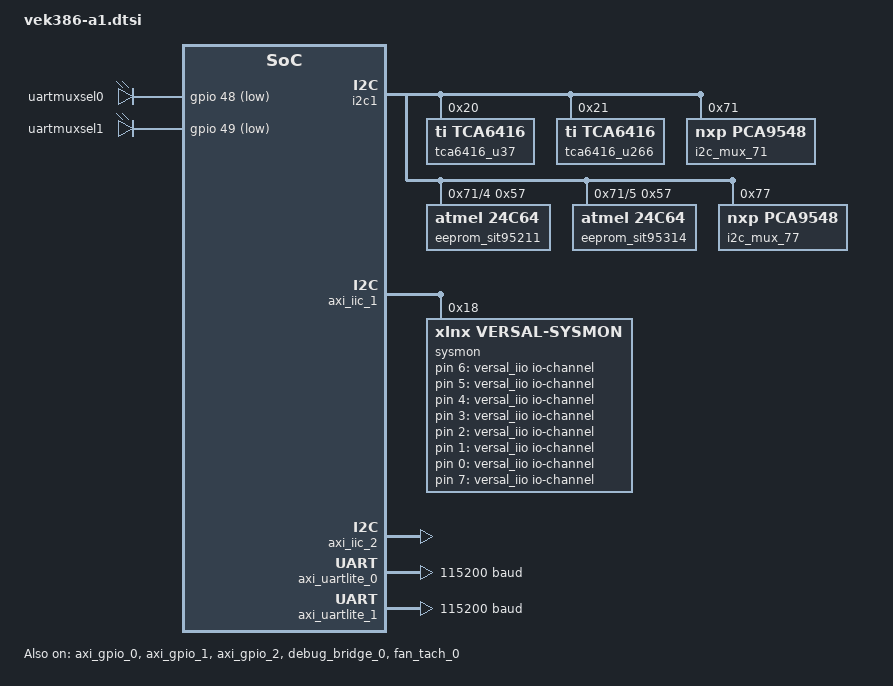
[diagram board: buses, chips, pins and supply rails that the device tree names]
// SPDX-License-Identifier: GPL-2.0
/*
 * dts file for SC on VEK386 revA (k24)
 *
 * (C) Copyright 2026, Advanced Micro Devices, Inc.
 *
 * Michal Simek <michal.simek@amd.com>
 */

/dts-v1/;
/plugin/;

&{/} {
	compatible = "xlnx,zynqmp-sc-vek386-revA",
		     "xlnx,zynqmp-sc-vek386", "xlnx,zynqmp";
	model = "ZynqMP SC VEK386 revA";

	leds-um {
		compatible = "gpio-leds";
		um0-led {
			label = "uartmuxsel0";
			gpios = <&gpio 48 1>;
			default-state = "off";
		};

		um1-led {
			label = "uartmuxsel1";
			gpios = <&gpio 49 1>;
			default-state = "off";
		};
	};

	versal_iio: versal {
		compatible = "iio-hwmon";
		io-channels = <&sysmon 6>, <&sysmon 5>, <&sysmon 4>,
			<&sysmon 3>, <&sysmon 2>, <&sysmon 1>,
			<&sysmon 0>, <&sysmon 7>, <&sysmon 8>;
	};
};

&i2c0 { /* FMC/J13  - MIO66/67 - board_i2c0 */
	#address-cells = <1>;
	#size-cells = <0>;
};

&i2c1 { /* MIO24/25 - sysctrl_i2c1 */
	#address-cells = <1>;
	#size-cells = <0>;
	status = "okay";

	/* slg7xl46528: gpio@10/11 u169 - reset logic */

	i2c-arbitrator@72 { /* u161 */

		i2c-arb { /* board_i2c1 */

			tca6416_u37: gpio@20 { /* u37 */
				compatible = "ti,tca6416";
				reg = <0x20>;
				gpio-controller; /* interrupt on MIO69 */
				#gpio-cells = <2>;
				gpio-line-names = "VMON1_SLP", "VMON2_SLP", "VMON3_SLP", "VMONS_ACT_SHDN", /* 0 - 3 */
						"PCIE_RP_i2C_ALERT_B", "PCIE_RP_CLKREQ_B", "PCIE_RP_PEWAKE_B", "PCIE_RP_PERST_CON_B", /* 4 - 7 */
						"FMCP1_FMC_PRSNT_M2C_B", "FMCP1_FMCP_PRSNT_M2C_B", "PMBUS4_INA_ALERT", "PMBUS3_INA_ALERT", /* 10 - 13 */
						"PMBUS2_INA_ALERT", "PMBUS1_INA_ALERT", "PMBUS1_NIRQ", "PMBUS1_ALERT"; /* 14 - 17 */
			};

			tca6416_u266: gpio@21 { /* u266 */
				compatible = "ti,tca6416";
				reg = <0x21>;
				gpio-controller; /* interrupt on MIO69 */
				#gpio-cells = <2>;
				gpio-line-names = "QSFP1_MODSELL", "QSFP1_RESETL", "QSFP1_MODPRSL", "QSFP1_INTL", /* 0 - 3 */
						"QSFP1_LPMODE", "", "", "", /* 4 - 7 */
						"SFP_TX_FAULT", "SFP_RX_LOS", "SFP_MOD_ABS", "SFP_TX_DISABLE", /* 10 - 13 */
						"SFP_RS0_R", "SFP_RS1_R", "", ""; /* 14 - 17 */
			};

			i2c_mux_71: i2c-mux@71 { /* u162 */
				compatible = "nxp,pca9548";
				#address-cells = <1>;
				#size-cells = <0>;
				reg = <0x71>;
				i2c-mux-idle-disconnect;
				pmbus1: i2c@0 {
					#address-cells = <1>;
					#size-cells = <0>;
					reg = <0>;
					/* pmbus1 */
					/* J1 connector */
					/* u247 mpq79500 0x5 */
					/* u248 mpq79500 0x6 */
					/* u249 mpq79500 0x7 */
					/* u256 mpq79730 0x8 */
					/* u254 mpq79730 0x9 */
					/* u255 mpq79730 0xa */
					/* u243 mpq79720 0xb */
					/* u245 mpq79720 0xc */
					/* u201 mpq2283 0x15 */
					/* u193 mpq2283 0x1a */
					/* u207 mpq2283 0x1c */
					/* u176 mpq2285 0x1d */
					/* u228 mpq72963 0x22 */
					/* u219 mpq72963 0x23 */
					/* u220 mpq72963 0x24 */
				};
				pmbus2: i2c@1 {
					#address-cells = <1>;
					#size-cells = <0>;
					reg = <1>;
					/* pmbus2 */
					/* J166 connector */
					/* u205 mpq2285 0x1 */
					/* u175 mpq2285 0x2 */
					/* u189 mpq2283 0x3 */
					/* u190 mpq2283 0x4 */
					/* u195 mpq2283 0x1e */
					/* u196 mpq2283 0x1f */
					/* u93 mpq2283 0x13 */
					/* u203 mpq2283 0x17 */
					/* u204 mpq2283 0x18 */
					/* u191 mpq2283 0x19 */
					/* u206 mpq2283 0x1b */
				};
				pmbus1_ina: i2c@2 {
					#address-cells = <1>;
					#size-cells = <0>;
					reg = <2>;
					/* u282 ina745a 0x40 vcc_fpd_bus */
					/* u233 ina745a 0x41 vcc_soc_io_bus */
					/* u283 ina700a 0x44 vcc_lpd */
					/* u284 ina700a 0x45 vccaux_lpd */
					/* u285 ina700a 0x46 vcco_50x */
					/* u286 ina700a 0x47 vcco_mipi_507 */
					/* u64 ina745a 0x48 vccint_bus1 */
					/* u275 ina745a 0x49 vccint_bus2 */
					/* u276 ina745a 0x4a vccint_bus3 */
					/* u277 ina745a 0x4b vccint_bus4 */
				};
				pmbus2_ina: i2c@3 {
					#address-cells = <1>;
					#size-cells = <0>;
					reg = <3>;
					/* u287 ina700a 0x44 vcciio_mipi_507 */
					/* u297 ina700a 0x45 util_5v0_in_bank504 */
					/* u288 ina700a 0x46 vccaux */
					/* u289 ina700a 0x47 vadj_fmc */
					/* u278 ina745a 0x48 vcc_aie_bus1 */
					/* u279 ina745a 0x49 vcc_aie_bus2 */
					/* u280 ina745a 0x4a vcc_aie_bus3 */
					/* u281 ina745a 0x4b vcc_aie_bus4 */
				};
				clkgen_sit95211: i2c@4 {
					#address-cells = <1>;
					#size-cells = <0>;
					reg = <4>;
					/* u101 sit95211 0x69 - 12 outputs */
					eeprom_u166: eeprom@57 { /* u166 - required by spec - also at address 0x5F */
						compatible = "atmel,24c64";
						label = "eeprom_sit95211";
						reg = <0x57>;
					};
				};
				clkgen_sit95314: i2c@5 {
					#address-cells = <1>;
					#size-cells = <0>;
					reg = <5>;
					/* u164 sit95314 0x69 - 4 outputs */
					eeprom_u165: eeprom@57 { /* u165 - required by spec - also at address 0x5F */
						compatible = "atmel,24c64";
						label = "eeprom_sit95314";
						reg = <0x57>;
					};
				};
				pmbus3_ina: i2c@6 {
					#address-cells = <1>;
					#size-cells = <0>;
					reg = <6>;
					/* u290 ina700a 0x44 vcco_40x */
					/* u291 ina700a 0x45 gtyp_avccaux */
					/* u292 ina700a 0x46 gtyp_avtt */
					/* u294 ina700a 0x47 vcco_7xx_lp5 */
				};
				pmbus4_ina: i2c@7 {
					#address-cells = <1>;
					#size-cells = <0>;
					reg = <7>;
					/* u293 ina700a 0x44 vcc_mmd */
					/* u295 ina700a 0x45 vcc_ram */
					/* u296 ina700a 0x46 gtyp_avcc */
				};
			};

			i2c_mux_77: i2c-mux@77 { /* u253 */
				compatible = "nxp,pca9548";
				#address-cells = <1>;
				#size-cells = <0>;
				reg = <0x77>;
				i2c-mux-idle-disconnect;
				sfp: i2c@1 {
					#address-cells = <1>;
					#size-cells = <0>;
					reg = <1>;
				};
				usbdp: i2c@2 {
					#address-cells = <1>;
					#size-cells = <0>;
					reg = <2>;
					/* u272 tps66993 */
				};
				pcie_rp: i2c@3 {
					#address-cells = <1>;
					#size-cells = <0>;
					reg = <3>;
				};
				usb0_hub: i2c@4 {
					#address-cells = <1>;
					#size-cells = <0>;
					reg = <4>;
					hub: usb-hub@74 { /* u111 - DNP */
						compatible = "microchip,usb5744";
						status = "disabled";
						reg = <0x74>;
					};

				};
				/* 0, 5 - 7 not connected */
			};
		};
	};
};

&eeprom_cc { /* u35 - m24128 16kB */
	compatible = "st,24c128", "atmel,24c128";
};

&fpga_full {
	firmware-name = "vek386-a1.bin";
	clocking0: clocking0 {
		compatible = "xlnx,fclk";
		status = "okay";
		assigned-clocks = <&zynqmp_clk 71>;
		assigned-clock-rates = <99999999>;
		#clock-cells = <0>;
		clock-output-names = "fabric_clk";
		clocks = <&zynqmp_clk 71>;
	};
	afi0: afi0 {
		status = "okay";
		compatible = "xlnx,afi-fpga";
		resets = <&zynqmp_reset 116>, <&zynqmp_reset 117>, <&zynqmp_reset 118>, <&zynqmp_reset 119>;
		config-afi = < 0 0>, <1 0>, <2 0>, <3 0>, <4 0>, <5 0>, <6 0>, <7 0>, <8 0>, <9 0>, <10 0>, <11 0>, <12 0>, <13 0>, <14 0xa00>, <15 0x000>;
	};
};

&amba {
	ranges;
	compatible = "simple-bus";
	#address-cells = <2>;
	#size-cells = <2>;
	axi_gpio_0: gpio@80020000 {
		#interrupt-cells = <2>;
		interrupts = < 0 94 4 >;
		xlnx,gpio-board-interface = "Custom";
		compatible = "xlnx,axi-gpio-2.0" , "xlnx,xps-gpio-1.00.a";
		xlnx,all-outputs = <0>;
		#gpio-cells = <2>;
		xlnx,gpio-width = <12>;
		interrupt-parent = <&gic>;
		xlnx,dout-default = <0x0>;
		xlnx,is-dual = <0>;
		xlnx,ip-name = "axi_gpio";
		xlnx,tri-default-2 = <0xffffffff>;
		reg = <0x0 0x80020000 0x0 0x10000>;
		xlnx,all-inputs-2 = <0>;
		clocks = <&zynqmp_clk 71>;
		xlnx,all-outputs-2 = <0>;
		gpio-controller;
		xlnx,interrupt-present = <1>;
		xlnx,gpio2-board-interface = "Custom";
		xlnx,edk-iptype = "PERIPHERAL";
		xlnx,dout-default-2 = <0x0>;
		status = "okay";
		xlnx,gpio2-width = <32>;
		clock-names = "s_axi_aclk";
		interrupt-controller;
		interrupt-names = "ip2intc_irpt";
		xlnx,tri-default = <0xffffffff>;
		xlnx,name = "axi_gpio_0";
		xlnx,all-inputs = <0>;
	};
	axi_gpio_1: gpio@80030000 {
		#interrupt-cells = <2>;
		interrupts = < 0 96 4 >;
		xlnx,gpio-board-interface = "Custom";
		compatible = "xlnx,axi-gpio-2.0" , "xlnx,xps-gpio-1.00.a";
		xlnx,all-outputs = <0>;
		#gpio-cells = <2>;
		xlnx,gpio-width = <26>;
		interrupt-parent = <&gic>;
		xlnx,dout-default = <0x0>;
		xlnx,is-dual = <0>;
		xlnx,ip-name = "axi_gpio";
		xlnx,tri-default-2 = <0xffffffff>;
		reg = <0x0 0x80030000 0x0 0x10000>;
		xlnx,all-inputs-2 = <0>;
		clocks = <&zynqmp_clk 71>;
		xlnx,all-outputs-2 = <0>;
		gpio-controller;
		xlnx,interrupt-present = <1>;
		xlnx,gpio2-board-interface = "Custom";
		xlnx,edk-iptype = "PERIPHERAL";
		xlnx,dout-default-2 = <0x0>;
		status = "okay";
		xlnx,gpio2-width = <32>;
		clock-names = "s_axi_aclk";
		interrupt-controller;
		interrupt-names = "ip2intc_irpt";
		xlnx,tri-default = <0xffffffff>;
		xlnx,name = "axi_gpio_1";
		xlnx,all-inputs = <0>;
		gpio-line-names =
			/*  0 -  3 */ "", "", "SYSCTRL_GPI6", "SYSCTRL_GPI7",
			/*  4 -  7 */ "", "", "", "",
			/*  8 - 11 */ "SYSCTRL_GPI4", "SYSCTRL_GPI5", "CC_EEPROM_WP", "SYSCTRL_GPO0",
			/* 12 - 15 */ "SYSCTRL_GPO1", "", "", "",
			/* 16 - 19 */ "SYSCTRL_GPO2", "SYSCTRL_GPO3", "", "",
			/* 20 - 23 */ "", "", "", "",
			/* 24 - 25 */ "", "";
	};
	axi_gpio_2: gpio@80040000 {
		#interrupt-cells = <2>;
		interrupts = < 0 95 4 >;
		xlnx,gpio-board-interface = "Custom";
		compatible = "xlnx,axi-gpio-2.0" , "xlnx,xps-gpio-1.00.a";
		xlnx,all-outputs = <0>;
		#gpio-cells = <2>;
		xlnx,gpio-width = <24>;
		interrupt-parent = <&gic>;
		xlnx,dout-default = <0x0>;
		xlnx,is-dual = <0>;
		xlnx,ip-name = "axi_gpio";
		xlnx,tri-default-2 = <0xffffffff>;
		reg = <0x0 0x80040000 0x0 0x10000>;
		xlnx,all-inputs-2 = <0>;
		clocks = <&zynqmp_clk 71>;
		xlnx,all-outputs-2 = <0>;
		gpio-controller;
		xlnx,interrupt-present = <1>;
		xlnx,gpio2-board-interface = "Custom";
		xlnx,edk-iptype = "PERIPHERAL";
		xlnx,dout-default-2 = <0x0>;
		status = "okay";
		xlnx,gpio2-width = <32>;
		clock-names = "s_axi_aclk";
		interrupt-controller;
		interrupt-names = "ip2intc_irpt";
		xlnx,tri-default = <0xffffffff>;
		xlnx,name = "axi_gpio_2";
		xlnx,all-inputs = <0>;
	};
	axi_iic_1: i2c@80060000 {
		interrupts = < 0 92 4 >;
		xlnx,iic-freq-khz = <100>;
		compatible = "xlnx,axi-iic-2.1" , "xlnx,xps-iic-2.00.a";
		xlnx,scl-inertial-delay = <0>;
		interrupt-parent = <&gic>;
		xlnx,ip-name = "axi_iic";
		xlnx,disable-setup-violation-check = <0>;
		reg = <0x0 0x80060000 0x0 0x10000>;
		clocks = <&zynqmp_clk 71>;
		xlnx,gpo-width = <1>;
		xlnx,s-axi-aclk-freq-hz = <0x5f5dd19>;
		xlnx,edk-iptype = "PERIPHERAL";
		xlnx,static-timing-reg-width = <0>;
		xlnx,sda-level = <1>;
		status = "okay";
		clock-names = "s_axi_aclk";
		xlnx,ten-bit-adr = <0>;
		xlnx,default-value = <0x0>;
		interrupt-names = "iic2intc_irpt";
		xlnx,iic-board-interface = "Custom";
		xlnx,timing-reg-width = <32>;
		xlnx,iic-freq = <100000>;
		xlnx,smbus-pmbus-host = <0>;
		xlnx,name = "axi_iic_1";
		xlnx,axi-aclk-freq-mhz = <0x5f5dd19>;
		xlnx,sda-inertial-delay = <0>;
		sysmon: i2c@18 {
			#address-cells = <1>;
			#size-cells = <0>;
			compatible = "xlnx,versal-sysmon";
			reg = <0x18>;
			xlnx,numchannels = [07];
			status = "okay";
			#io-channel-cells = <1>;
			supply@0 {
				reg = <0>;
				xlnx,name = "vccaux";
			};
			supply@1 {
				reg = <1>;
				xlnx,name = "vccaux_pmc";
			};
			supply@2 {
				reg = <2>;
				xlnx,name = "vcc_pmc";
			};
			supply@3 {
				reg = <3>;
				xlnx,name = "vcc_psfp";
			};
			supply@4 {
				reg = <4>;
				xlnx,name = "vcc_pslp";
			};
			supply@5 {
				reg = <5>;
				xlnx,name = "vcc_soc";
			};
			supply@6 {
				reg = <6>;
				xlnx,name = "vp_vn";
			};
		};
	};
	axi_iic_2: i2c@80090000 {
		interrupts = < 0 105 4 >;
		xlnx,iic-freq-khz = <100>;
		compatible = "xlnx,axi-iic-2.1" , "xlnx,xps-iic-2.00.a";
		xlnx,scl-inertial-delay = <0>;
		interrupt-parent = <&gic>;
		xlnx,ip-name = "axi_iic";
		xlnx,disable-setup-violation-check = <0>;
		reg = <0x0 0x80090000 0x0 0x10000>;
		clocks = <&zynqmp_clk 71>;
		xlnx,gpo-width = <1>;
		xlnx,s-axi-aclk-freq-hz = <0x5f5dd19>;
		xlnx,edk-iptype = "PERIPHERAL";
		xlnx,static-timing-reg-width = <0>;
		xlnx,sda-level = <1>;
		status = "okay";
		clock-names = "s_axi_aclk";
		xlnx,ten-bit-adr = <0>;
		xlnx,default-value = <0x0>;
		interrupt-names = "iic2intc_irpt";
		xlnx,iic-board-interface = "Custom";
		xlnx,timing-reg-width = <32>;
		xlnx,iic-freq = <100000>;
		xlnx,smbus-pmbus-host = <0>;
		xlnx,name = "axi_iic_2";
		xlnx,axi-aclk-freq-mhz = <0x5f5dd19>;
		xlnx,sda-inertial-delay = <0>;
	};
	axi_uartlite_0: serial@80070000 {
		interrupts = < 0 104 1 >;
		compatible = "xlnx,axi-uartlite-2.0" , "xlnx,xps-uartlite-1.00.a";
		xlnx,uartlite-board-interface = "Custom";
		xlnx,s-axi-aclk-freq-hz-d = <0x5f5dd19>;
		interrupt-parent = <&gic>;
		xlnx,ip-name = "axi_uartlite";
		reg = <0x0 0x80070000 0x0 0x10000>;
		xlnx,baudrate = <115200>;
		clocks = <&zynqmp_clk 71>;
		current-speed = <115200>;
		xlnx,use-parity = <0>;
		xlnx,edk-iptype = "PERIPHERAL";
		xlnx,odd-parity = <0>;
		status = "okay";
		clock-names = "s_axi_aclk";
		interrupt-names = "interrupt";
		xlnx,name = "axi_uartlite_0";
		xlnx,data-bits = <8>;
		xlnx,parity = "No_Parity";
	};
	axi_uartlite_1: serial@80050000 {
		interrupts = < 0 91 1 >;
		compatible = "xlnx,axi-uartlite-2.0" , "xlnx,xps-uartlite-1.00.a";
		xlnx,uartlite-board-interface = "Custom";
		xlnx,s-axi-aclk-freq-hz-d = <0x5f5dd19>;
		interrupt-parent = <&gic>;
		xlnx,ip-name = "axi_uartlite";
		reg = <0x0 0x80050000 0x0 0x10000>;
		xlnx,baudrate = <115200>;
		clocks = <&zynqmp_clk 71>;
		current-speed = <115200>;
		xlnx,use-parity = <0>;
		xlnx,edk-iptype = "PERIPHERAL";
		xlnx,odd-parity = <0>;
		status = "okay";
		clock-names = "s_axi_aclk";
		interrupt-names = "interrupt";
		xlnx,name = "axi_uartlite_1";
		xlnx,data-bits = <8>;
		xlnx,parity = "No_Parity";
	};
	debug_bridge_0: debug_bridge@80010000 {
		xlnx,xvc-sw-id = <0x1>;
		xlnx,fifo-style = "SUBCORE";
		compatible = "xlnx,debug-bridge-3.0" , "generic-uio";
		xlnx,pcie-ext-cfg-next-ptr = <0x0>;
		xlnx,num-bs-master = <0>;
		xlnx,pcie-ext-cfg-vsec-id = <0x8>;
		xlnx,major-version = <14>;
		xlnx,bscan-mux = <1>;
		xlnx,xvc-hw-id = <0x1>;
		xlnx,device-family = <0>;
		xlnx,dclk-has-reset = <0>;
		xlnx,ip-name = "debug_bridge";
		xlnx,ir-width = <0>;
		reg = <0x0 0x80010000 0x0 0x10000>;
		xlnx,core-minor-alpha-ver = <97>;
		clocks = <&zynqmp_clk 71>;
		xlnx,xsdb-num-slaves = <0>;
		xlnx,en-int-sim = <1>;
		xlnx,clk-input-freq-hz = <300000000>;
		xlnx,ir-id-instr = <0>;
		xlnx,edk-iptype = "PERIPHERAL";
		xlnx,pcie-ext-cfg-base-addr = <0x400>;
		xlnx,build-revision = <0>;
		xlnx,use-softbscan = <1>;
		xlnx,ir-user1-instr = <0>;
		xlnx,core-minor-ver = <0>;
		xlnx,pcie-ext-cfg-vsec-rev-id = <0x0>;
		status = "okay";
		xlnx,chip-id = <0>;
		clock-names = "s_axi_aclk";
		xlnx,use-ext-bscan;
		xlnx,tck-clock-ratio = <8>;
		xlnx,minor-version = <1>;
		xlnx,en-passthrough = <0>;
		xlnx,core-type = <1>;
		xlnx,user-scan-chain = <1>;
		xlnx,use-bufr = <0>;
		xlnx,pcie-ext-cfg-vsec-length = <0x20>;
		xlnx,master-intf-type = <1>;
		xlnx,design-type = <0>;
		xlnx,debug-mode = <3>;
		xlnx,name = "debug_bridge_0";
		xlnx,core-major-ver = <1>;
	};
	fan_tach_0: fan_tach@80080000 {
		interrupt-parent = <&gic>;
		interrupts = < 0 89 4 0 90 4 >;
		compatible = "xlnx,fan-tach-1.0";
		status = "okay";
		clock-names = "clk";
		xlnx,ip-name = "fan_tach";
		interrupt-names = "interrupt_fan_fail" , "interrupt_pwm_det";
		xlnx,edk-iptype = "PERIPHERAL";
		reg = <0x0 0x80080000 0x0 0x1000 0x0 0x80081000 0x0 0x1000 0x0 0x80082000 0x0 0x1000>;
		clocks = <&zynqmp_clk 71>;
		xlnx,name = "fan_tach_0";
	};
};
